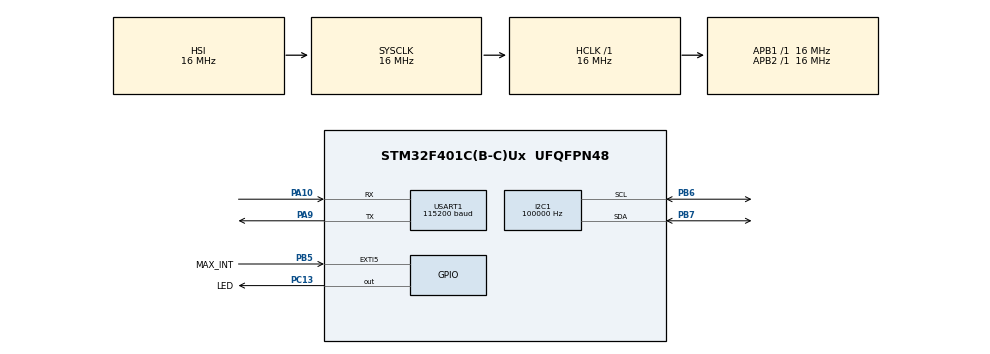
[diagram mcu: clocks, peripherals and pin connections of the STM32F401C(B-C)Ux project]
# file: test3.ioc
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I2C1.ClockSpeed=100000
I2C1.I2C_Mode=I2C_Standard
Mcu.Family=STM32F4
Mcu.Name=STM32F401C(B-C)Ux
Mcu.Package=UFQFPN48
NVIC.EXTI9_5_IRQn=true\:5\:0\:false\:false\:true\:true\:true\:true
NVIC.PriorityGroup=NVIC_PRIORITYGROUP_4
PA10.Mode=Asynchronous
PA10.Signal=USART1_RX
PA9.Mode=Asynchronous
PA9.Signal=USART1_TX
PB5.GPIO_Label=MAX_INT
PB5.GPIO_ModeDefaultEXTI=GPIO_MODE_IT_FALLING
PB5.GPIO_PuPd=GPIO_PULLUP
PB5.Signal=GPXTI5
PB6.GPIO_PuPdOD=GPIO_NOPULL
PB6.GPIO_Speed=GPIO_SPEED_FREQ_VERY_HIGH
PB6.Mode=I2C
PB6.Signal=I2C1_SCL
PB7.GPIO_PuPdOD=GPIO_NOPULL
PB7.GPIO_Speed=GPIO_SPEED_FREQ_VERY_HIGH
PB7.Mode=I2C
PB7.Signal=I2C1_SDA
PC13-ANTI_TAMP.GPIO_Label=LED
PC13-ANTI_TAMP.PinState=GPIO_PIN_SET
PC13-ANTI_TAMP.Signal=GPIO_Output
ProjectManager.HeapSize=0x200
ProjectManager.StackSize=0x1000
ProjectManager.TargetToolchain=STM32CubeIDE
RCC.AHBFreq_Value=16000000
RCC.APB1Freq_Value=16000000
RCC.APB2Freq_Value=16000000
RCC.CortexFreq_Value=16000000
RCC.HSE_VALUE=25000000
RCC.HSI_VALUE=16000000
RCC.LSE_VALUE=32768
RCC.SYSCLKFreq_VALUE=16000000
RCC.VCOOutputFreq_Value=192000000
USART1.BaudRate=115200
USART1.VirtualMode=VM_ASYNC
board=custom

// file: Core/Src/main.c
/* USER CODE BEGIN Header */
/**
  ******************************************************************************
  * @file           : main.c
  * @brief          : Main program body
  ******************************************************************************
  * @attention
  *
  * Copyright (c) 2026 STMicroelectronics.
  * All rights reserved.
  *
  * This software is licensed under terms that can be found in the LICENSE file
  * in the root directory of this software component.
  * If no LICENSE file comes with this software, it is provided AS-IS.
  *
  ******************************************************************************
  */
/* USER CODE END Header */
#include "main.h"

/* USER CODE BEGIN Includes */
#include <stdio.h>
#include <string.h>
#include "MAX30102/MAX30102.h"
/* USER CODE END Includes */

I2C_HandleTypeDef hi2c1;
UART_HandleTypeDef huart1;

/* USER CODE BEGIN PV */
static volatile uint8_t sensor_pending;
static uint8_t sensor_ready;
static uint32_t last_poll, last_report, last_retry;
/* USER CODE END PV */

void SystemClock_Config(void);
static void MX_GPIO_Init(void);
static void MX_I2C1_Init(void);
static void MX_USART1_UART_Init(void);

/* USER CODE BEGIN 0 */
static void Serial_Send(const char *text)
{
    if (HAL_UART_Transmit(&huart1, (uint8_t *)text, strlen(text), 50) != HAL_OK)
        HAL_GPIO_WritePin(GPIOC, GPIO_PIN_13, GPIO_PIN_RESET);
}

static uint8_t Sensor_Start(void)
{
    uint8_t part_id = 0;
    if (HAL_I2C_IsDeviceReady(&hi2c1, MAX30102_ADDRESS, 3, 20) != HAL_OK) {
        Serial_Send("ERROR,NO_ACK,0x57\r\n");
        return 0;
    }
    if (HAL_I2C_Mem_Read(&hi2c1, MAX30102_ADDRESS, REG_PART_ID,
        I2C_MEMADD_SIZE_8BIT, &part_id, 1, 20) != HAL_OK || part_id != 0x15) {
        Serial_Send("ERROR,PART_ID\r\n");
        return 0;
    }
    if (Max30102_Init(&hi2c1) != MAX30102_OK) {
        Serial_Send("ERROR,INIT\r\n");
        return 0;
    }
    uint8_t mode, config;
    if (Max30102_ReadReg(REG_MODE_CONFIG, &mode) != MAX30102_OK ||
        Max30102_ReadReg(REG_SPO2_CONFIG, &config) != MAX30102_OK ||
        (mode & 0x47) != MODE_SPO2_MODE || config != 0x27) {
        Serial_Send("ERROR,CONFIG_READBACK\r\n");
        return 0;
    }
    Serial_Send("READY,MAX30102,100SPS\r\n");
    return 1;
}
/* USER CODE END 0 */

int main(void)
{

  /* MCU Configuration--------------------------------------------------------*/

  /* Reset of all peripherals, Initializes the Flash interface and the Systick. */
  HAL_Init();

  /* Configure the system clock */
  SystemClock_Config();

  /* Initialize all configured peripherals */
  MX_GPIO_Init();
  MX_I2C1_Init();
  MX_USART1_UART_Init();
  /* USER CODE BEGIN 2 */
  HAL_Delay(100);
  Serial_Send("START,test3\r\n");
  sensor_ready = Sensor_Start();
  last_retry = HAL_GetTick();
/* USER CODE END 2 */

  /* Infinite loop */
  /* USER CODE BEGIN WHILE */
  while (1)
  {
    uint32_t now = HAL_GetTick();
    if (!sensor_ready) {
        if (now - last_retry >= 1000) {
            last_retry = now;
            sensor_ready = Sensor_Start();
        }
    } else {
        if (sensor_pending || now - last_poll >= 5) {
            sensor_pending = 0;
            last_poll = now;
            if (Max30102_InterruptCallback() != MAX30102_OK) {
                Serial_Send("ERROR,FIFO_OR_I2C\r\n");
                sensor_ready = 0;
                last_retry = now;
            } else {
                Max30102_Task();
            }
        }
        if (sensor_ready && now - last_report >= 1000) {
            char text[144];
            last_report = now;
            snprintf(text, sizeof(text),
                "DATA,hr=%ld,spo2=%ld,hr_valid=%d,spo2_valid=%d,finger=%d,red=%lu,ir=%lu\r\n",
                (long)Max30102_GetHeartRate(), (long)Max30102_GetSpO2Value(),
                Max30102_IsHeartRateValid(), Max30102_IsSpO2Valid(),
                Max30102_IsFingerOnSensor(), (unsigned long)Max30102_GetRed(),
                (unsigned long)Max30102_GetIR());
            Serial_Send(text);
            HAL_GPIO_TogglePin(GPIOC, GPIO_PIN_13);
        }
    }
    /* USER CODE END WHILE */

  }
}

void SystemClock_Config(void)
{
  RCC_OscInitTypeDef RCC_OscInitStruct = {0};
  RCC_ClkInitTypeDef RCC_ClkInitStruct = {0};

  /** Configure the main internal regulator output voltage
  */
  __HAL_RCC_PWR_CLK_ENABLE();
  __HAL_PWR_VOLTAGESCALING_CONFIG(PWR_REGULATOR_VOLTAGE_SCALE2);

  /** Initializes the RCC Oscillators according to the specified parameters
  * in the RCC_OscInitTypeDef structure.
  */
  RCC_OscInitStruct.OscillatorType = RCC_OSCILLATORTYPE_HSI;
  RCC_OscInitStruct.HSIState = RCC_HSI_ON;
  RCC_OscInitStruct.HSICalibrationValue = RCC_HSICALIBRATION_DEFAULT;
  RCC_OscInitStruct.PLL.PLLState = RCC_PLL_NONE;
  if (HAL_RCC_OscConfig(&RCC_OscInitStruct) != HAL_OK)
  {
    Error_Handler();
  }

  /** Initializes the CPU, AHB and APB buses clocks
  */
  RCC_ClkInitStruct.ClockType = RCC_CLOCKTYPE_HCLK|RCC_CLOCKTYPE_SYSCLK
                              |RCC_CLOCKTYPE_PCLK1|RCC_CLOCKTYPE_PCLK2;
  RCC_ClkInitStruct.SYSCLKSource = RCC_SYSCLKSOURCE_HSI;
  RCC_ClkInitStruct.AHBCLKDivider = RCC_SYSCLK_DIV1;
  RCC_ClkInitStruct.APB1CLKDivider = RCC_HCLK_DIV1;
  RCC_ClkInitStruct.APB2CLKDivider = RCC_HCLK_DIV1;

  if (HAL_RCC_ClockConfig(&RCC_ClkInitStruct, FLASH_LATENCY_0) != HAL_OK)
  {
    Error_Handler();
  }
}

static void MX_I2C1_Init(void)
{
    hi2c1.Instance = I2C1;
    hi2c1.Init.ClockSpeed = 100000;
    hi2c1.Init.DutyCycle = I2C_DUTYCYCLE_2;
    hi2c1.Init.OwnAddress1 = 0;
    hi2c1.Init.AddressingMode = I2C_ADDRESSINGMODE_7BIT;
    hi2c1.Init.DualAddressMode = I2C_DUALADDRESS_DISABLE;
    hi2c1.Init.OwnAddress2 = 0;
    hi2c1.Init.GeneralCallMode = I2C_GENERALCALL_DISABLE;
    hi2c1.Init.NoStretchMode = I2C_NOSTRETCH_DISABLE;
    if (HAL_I2C_Init(&hi2c1) != HAL_OK) Error_Handler();
}

static void MX_USART1_UART_Init(void)
{
    huart1.Instance = USART1;
    huart1.Init.BaudRate = 115200;
    huart1.Init.WordLength = UART_WORDLENGTH_8B;
    huart1.Init.StopBits = UART_STOPBITS_1;
    huart1.Init.Parity = UART_PARITY_NONE;
    huart1.Init.Mode = UART_MODE_TX_RX;
    huart1.Init.HwFlowCtl = UART_HWCONTROL_NONE;
    huart1.Init.OverSampling = UART_OVERSAMPLING_16;
    if (HAL_UART_Init(&huart1) != HAL_OK) Error_Handler();
}

static void MX_GPIO_Init(void)
{
    GPIO_InitTypeDef gpio = {0};
    __HAL_RCC_GPIOA_CLK_ENABLE();
    __HAL_RCC_GPIOB_CLK_ENABLE();
    __HAL_RCC_GPIOC_CLK_ENABLE();
    HAL_GPIO_WritePin(GPIOC, GPIO_PIN_13, GPIO_PIN_SET);
    gpio.Pin = GPIO_PIN_13;
    gpio.Mode = GPIO_MODE_OUTPUT_PP;
    gpio.Pull = GPIO_NOPULL;
    gpio.Speed = GPIO_SPEED_FREQ_LOW;
    HAL_GPIO_Init(GPIOC, &gpio);
    gpio.Pin = GPIO_PIN_5;
    gpio.Mode = GPIO_MODE_IT_FALLING;
    gpio.Pull = GPIO_PULLUP;
    HAL_GPIO_Init(GPIOB, &gpio);
    HAL_NVIC_SetPriority(EXTI9_5_IRQn, 5, 0);
    HAL_NVIC_EnableIRQ(EXTI9_5_IRQn);
}

/* USER CODE BEGIN 4 */
void HAL_GPIO_EXTI_Callback(uint16_t GPIO_Pin)
{
    if (GPIO_Pin == GPIO_PIN_5) sensor_pending = 1;
}
/* USER CODE END 4 */

void Error_Handler(void)
{
  __disable_irq();
  while (1)
  {
  }
}
